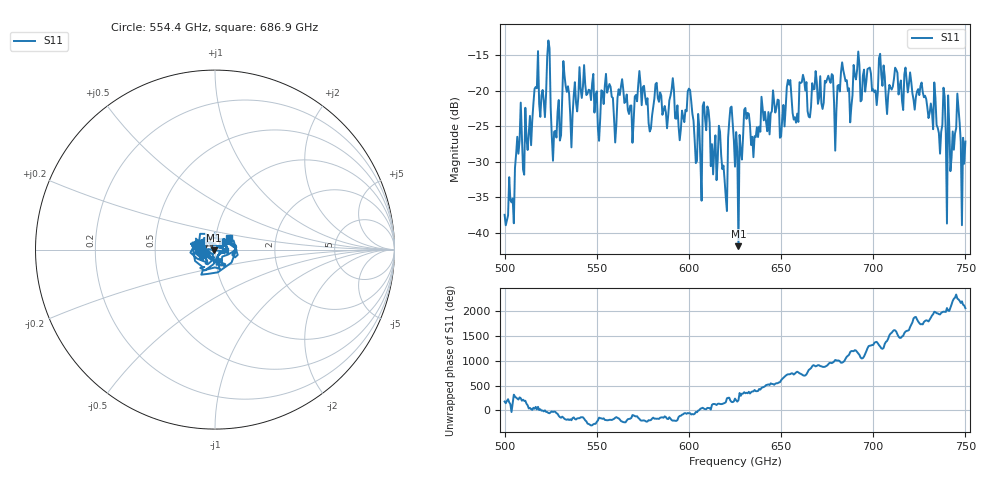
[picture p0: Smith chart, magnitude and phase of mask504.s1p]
!Created with skrf (http://scikit-rf.org).
# GHz S MA R 50.0
!freq magS11 angS11
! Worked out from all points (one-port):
!   401 points, 500 GHz to 750 GHz, reference 50 ohm
!   lowest |S11| = -41.9 dB at 626.9 GHz (marker M1), VSWR 1.02, Z = 49.3 - j0.324 ohm
!   |S11| at or under -10 dB: start of sweep to end of sweep
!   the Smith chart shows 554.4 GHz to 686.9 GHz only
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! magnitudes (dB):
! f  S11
! 500 GHz  -37.4
! 516.9 GHz  -19.4
! 520.6 GHz  -19.9
! 523.8 GHz  -12.9
! 526.9 GHz  -25.7
! 531.2 GHz  -21.1
! 562.5 GHz  -20.6
! 593.8 GHz  -22.0
! 600.6 GHz  -19.9
! 605.6 GHz  -25.1
! 609.4 GHz  -25.5
! 619.4 GHz  -32.6
! 622.5 GHz  -22.4
! 625 GHz  -30.7
! 626.9 GHz  -41.9
! 631.2 GHz  -23.9
! 635 GHz  -29.3
! 656.2 GHz  -23.1
! 676.9 GHz  -18.9
! 680 GHz  -22.8
! 683.8 GHz  -17.1
! 687.5 GHz  -24.4
! 690.6 GHz  -18.4
! 718.8 GHz  -20.2
! 738.1 GHz  -19.5
! 741.2 GHz  -25.0
! 745.6 GHz  -20.4
! 750 GHz  -27.1
